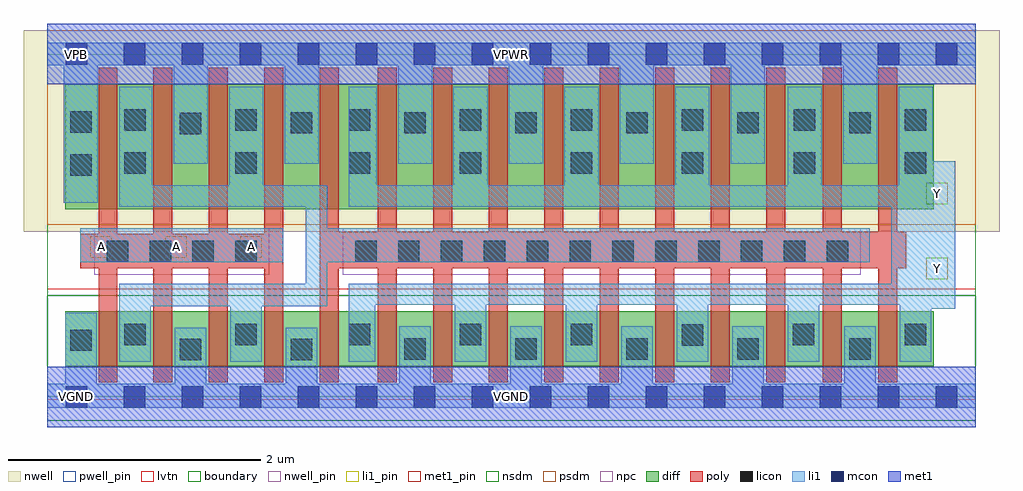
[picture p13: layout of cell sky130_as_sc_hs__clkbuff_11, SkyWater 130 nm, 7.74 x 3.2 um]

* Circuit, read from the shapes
.subckt sky130_as_sc_hs__clkbuff_11 A VGND VNB VPB VPWR Y
XM1 n1 A VGND VNB sky130_fd_pr__nfet_01v8_lvt w=0.435 l=0.15 m=4
XM2 Y n1 VGND VNB sky130_fd_pr__nfet_01v8_lvt w=0.435 l=0.15 m=11
XM3 n1 A VPWR VPB sky130_fd_pr__pfet_01v8 w=0.99 l=0.15 m=4
XM4 Y n1 VPWR VPB sky130_fd_pr__pfet_01v8 w=0.99 l=0.15 m=11
.ends

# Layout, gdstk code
import gdstk
lib = gdstk.Library(unit=1e-6, precision=1e-09)
def R(c, l, rs):  # rectangles x0, y0, x1, y1
    for r in rs: c.add(gdstk.rectangle(r[:2], r[2:], *l))
def A(c, l, x, y, w, h, nx, ny, dx, dy):  # array of equal rectangles
    R(c, l, [(x+i*dx, y+j*dy, x+i*dx+w, y+j*dy+h) for i in range(nx) for j in range(ny)])
nwell_pin = (64, 16)
nwell = (64, 20)
diff = (65, 20)
poly = (66, 20)
licon = (66, 44)
li1_pin = (67, 16)
li1 = (67, 20)
mcon = (67, 44)
met1_pin = (68, 16)
met1 = (68, 20)
nsdm = (93, 44)
psdm = (94, 20)
npc = (95, 20)
pwell_pin = (122, 16)
lvtn = (125, 44)
boundary = (235, 4)

sky130_as_sc_hs__clkbuff = lib.new_cell('sky130_as_sc_hs__clkbuff_11')
R(sky130_as_sc_hs__clkbuff, nwell_pin, [(0.145,2.635,0.315,2.805)])
R(sky130_as_sc_hs__clkbuff, nwell, [(-0.19,1.31,7.55,2.91)])
R(sky130_as_sc_hs__clkbuff, diff, [(0.14,0.245,7.03,0.68), (0.14,1.49,7.03,2.48)])
A(sky130_as_sc_hs__clkbuff, poly, 0.84, 0.115, 0.15, 0.905, 4, 1, 0.44, 0)
A(sky130_as_sc_hs__clkbuff, poly, 2.62, 0.115, 0.15, 0.905, 8, 1, 0.44, 0)
A(sky130_as_sc_hs__clkbuff, poly, 0.84, 1.295, 0.15, 1.315, 3, 1, 0.44, 0)
A(sky130_as_sc_hs__clkbuff, poly, 2.62, 1.31, 0.15, 1.3, 8, 1, 0.44, 0)
R(sky130_as_sc_hs__clkbuff, poly, [(0.405,0.115,0.555,1.02), (6.15,0.115,6.3,1.02), (6.59,0.115,6.74,1.02), (0.26,1.02,1.87,1.295), (2.16,1.02,6.81,1.31), (0.405,1.295,0.555,2.61), (2.16,1.31,2.31,2.61), (6.15,1.31,6.3,2.61), (6.59,1.31,6.74,2.61)])
A(sky130_as_sc_hs__clkbuff, licon, 2.83, 0.295, 0.17, 0.17, 4, 2, 0.88, 1.795)
A(sky130_as_sc_hs__clkbuff, licon, 2.39, 0.41, 0.17, 0.17, 3, 1, 0.88, 0)
A(sky130_as_sc_hs__clkbuff, licon, 0.47, 1.07, 0.17, 0.17, 4, 1, 0.34, 0)
A(sky130_as_sc_hs__clkbuff, licon, 2.44, 1.07, 0.17, 0.17, 12, 1, 0.34, 0)
A(sky130_as_sc_hs__clkbuff, licon, 2.39, 1.77, 0.17, 0.17, 4, 2, 0.88, 0.34)
R(sky130_as_sc_hs__clkbuff, licon, [(1.05,0.29,1.22,0.46), (1.93,0.29,2.1,0.46), (6.36,0.295,6.53,0.465), (0.18,0.365,0.35,0.535), (5.03,0.405,5.2,0.575), (0.61,0.41,0.78,0.58), (1.49,0.41,1.66,0.58), (5.91,0.41,6.08,0.58), (6.8,0.41,6.97,0.58), (0.18,1.755,0.35,1.925), (0.61,1.77,0.78,1.94), (1.49,1.77,1.66,1.94), (5.92,1.77,6.09,1.94), (6.8,1.77,6.97,1.94), (1.05,2.085,1.22,2.255), (1.93,2.09,2.1,2.26), (6.36,2.09,6.53,2.26), (0.18,2.095,0.35,2.265), (0.61,2.11,0.78,2.28), (1.49,2.11,1.66,2.28), (5.92,2.11,6.09,2.28), (6.8,2.11,6.97,2.28)])
A(sky130_as_sc_hs__clkbuff, li1_pin, 0.34, 1.105, 0.17, 0.17, 3, 1, 0.595, 0)
R(sky130_as_sc_hs__clkbuff, li1_pin, [(6.97,0.935,7.14,1.105), (6.97,1.53,7.14,1.7)])
A(sky130_as_sc_hs__clkbuff, li1, 2.79, 0.105, 0.25, 0.455, 4, 1, 0.88, 0)
A(sky130_as_sc_hs__clkbuff, li1, 3.23, 0.28, 0.25, 0.45, 4, 1, 0.88, 0)
A(sky130_as_sc_hs__clkbuff, li1, 3.22, 1.68, 0.27, 0.78, 3, 1, 0.88, 0)
A(sky130_as_sc_hs__clkbuff, li1, 2.78, 1.85, 0.27, 0.78, 4, 1, 0.88, 0)
R(sky130_as_sc_hs__clkbuff, li1, [(0,-0.085,7.36,0.105), (0.14,0.105,0.39,0.67), (1.01,0.105,1.26,0.55), (1.89,0.105,2.14,0.55), (6.32,0.105,6.57,0.56), (0.57,0.28,0.82,0.72), (1.45,0.28,1.7,0.72), (2.39,0.28,2.6,0.73), (6.76,0.28,7.01,0.7), (6.76,0.7,7.2,0.73), (0.57,0.72,2.22,0.9), (2.39,0.73,7.2,0.9), (2.05,0.9,2.22,1.07), (6.69,0.9,7.2,1.51), (0.26,1.07,1.87,1.34), (2.05,1.07,6.52,1.34), (2.05,1.34,2.22,1.51), (0.57,1.51,2.22,1.68), (2.39,1.51,7.2,1.68), (0.13,1.54,0.4,2.63), (0.57,1.68,0.83,2.46), (1.44,1.68,1.71,2.46), (2.39,1.68,2.61,2.46), (5.87,1.68,6.14,2.46), (6.75,1.68,7.2,1.87), (1,1.85,1.27,2.63), (1.88,1.85,2.15,2.63), (6.31,1.85,6.58,2.63), (6.75,1.87,7.02,2.46), (0,2.63,7.36,2.81)])
A(sky130_as_sc_hs__clkbuff, mcon, 0.145, -0.085, 0.17, 0.17, 16, 2, 0.46, 2.72)
R(sky130_as_sc_hs__clkbuff, met1_pin, [(0,-0.24,7.36,0.24), (0.145,-0.085,0.315,0.085), (0,2.48,7.36,2.96), (0.145,2.635,0.315,2.805)])
R(sky130_as_sc_hs__clkbuff, met1, [(0,-0.24,7.36,0.24), (0,2.48,7.36,2.96)])
R(sky130_as_sc_hs__clkbuff, nsdm, [(0,-0.19,7.36,0.805)])
R(sky130_as_sc_hs__clkbuff, psdm, [(0,1.365,7.36,2.91)])
R(sky130_as_sc_hs__clkbuff, npc, [(0.37,0.97,1.76,1.34), (2.34,0.97,6.45,1.34)])
R(sky130_as_sc_hs__clkbuff, pwell_pin, [(0.145,-0.085,0.315,0.085)])
R(sky130_as_sc_hs__clkbuff, lvtn, [(0,-0.02,7.36,0.86)])
R(sky130_as_sc_hs__clkbuff, boundary, [(0,0,7.36,2.72)])
sky130_as_sc_hs__clkbuff.add(gdstk.Label('VPB', (0.23,2.72), layer=64, texttype=5))
sky130_as_sc_hs__clkbuff.add(gdstk.Label('VPB', (0.23,2.72), layer=64, texttype=5))
sky130_as_sc_hs__clkbuff.add(gdstk.Label('VGND', (0.23,0), layer=68, texttype=5))
sky130_as_sc_hs__clkbuff.add(gdstk.Label('VGND', (3.68,0), layer=68, texttype=5))
sky130_as_sc_hs__clkbuff.add(gdstk.Label('VPWR', (0.23,2.72), layer=68, texttype=5))
sky130_as_sc_hs__clkbuff.add(gdstk.Label('VPWR', (3.68,2.72), layer=68, texttype=5))
sky130_as_sc_hs__clkbuff.add(gdstk.Label('VNB', (0.23,0), layer=64, texttype=59))
sky130_as_sc_hs__clkbuff.add(gdstk.Label('VNB', (0.23,0), layer=64, texttype=59))
sky130_as_sc_hs__clkbuff.add(gdstk.Label('A', (0.425,1.19), layer=67, texttype=5))
sky130_as_sc_hs__clkbuff.add(gdstk.Label('A', (0.425,1.19), layer=67, texttype=5))
sky130_as_sc_hs__clkbuff.add(gdstk.Label('A', (1.02,1.19), layer=67, texttype=5))
sky130_as_sc_hs__clkbuff.add(gdstk.Label('A', (1.02,1.19), layer=67, texttype=5))
sky130_as_sc_hs__clkbuff.add(gdstk.Label('A', (1.615,1.19), layer=67, texttype=5))
sky130_as_sc_hs__clkbuff.add(gdstk.Label('A', (1.615,1.19), layer=67, texttype=5))
sky130_as_sc_hs__clkbuff.add(gdstk.Label('Y', (7.055,1.02), layer=67, texttype=5))
sky130_as_sc_hs__clkbuff.add(gdstk.Label('Y', (7.055,1.02), layer=67, texttype=5))
sky130_as_sc_hs__clkbuff.add(gdstk.Label('Y', (7.055,1.615), layer=67, texttype=5))
sky130_as_sc_hs__clkbuff.add(gdstk.Label('Y', (7.055,1.615), layer=67, texttype=5))

lib.write_gds('sky130_as_sc_hs__clkbuff_11.gds')
